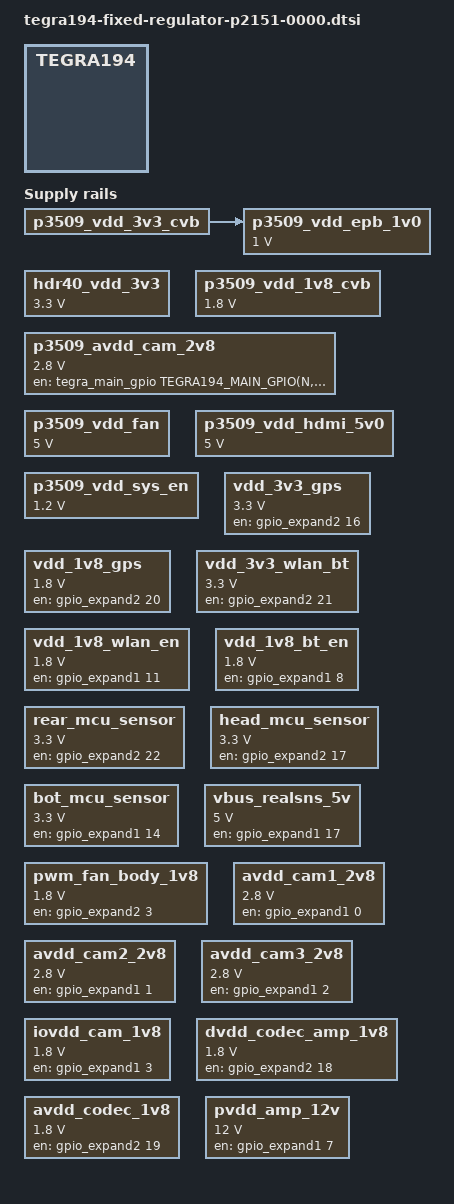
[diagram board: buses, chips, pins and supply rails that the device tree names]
/*
 * Copyright (c) 2019, NVIDIA CORPORATION.  All rights reserved.
 *
 * This program is free software; you can redistribute it and/or modify
 * it under the terms of the GNU General Public License as published by
 * the Free Software Foundation; either version 2 of the License, or
 * (at your option) any later version.
 *
 * This program is distributed in the hope that it will be useful, but WITHOUT
 * ANY WARRANTY; without even the implied warranty of MERCHANTABILITY or
 * FITNESS FOR A PARTICULAR PURPOSE.  See the GNU General Public License for
 * more details.
 */

#include <dt-bindings/gpio/tegra194-gpio.h>

/ {
	fixed-regulators {
		hdr40_vdd_3v3: p3509_vdd_3v3_cvb: regulator@101 {
			compatible = "regulator-fixed";
			reg = <101>;
			regulator-name = "vdd-3v3-cvb";
			regulator-min-microvolt = <3300000>;
			regulator-max-microvolt = <3300000>;
		};

		p3509_vdd_1v8_cvb: regulator@102 {
			compatible = "regulator-fixed";
			reg = <102>;
			regulator-name = "vdd-1v8-cvb";
			regulator-min-microvolt = <1800000>;
			regulator-max-microvolt = <1800000>;
		};

		/* No device using "p3509_vdd_epb_1v0" regulator */
		p3509_vdd_epb_1v0: regulator@105 {
			compatible = "regulator-fixed";
			reg = <105>;
			regulator-name = "vdd-epb-1v0";
			regulator-min-microvolt = <1000000>;
			regulator-max-microvolt = <1000000>;
			vin-supply = <&p3509_vdd_3v3_cvb>;
		};

		/* P3509 board need only VDD_3V3_SYS regulator, this regulator is not needed */
		p3509_avdd_cam_2v8: regulator@107 {
			compatible = "regulator-fixed";
			reg = <107>;
			regulator-name = "avdd-cam-2v8";
			regulator-min-microvolt = <2800000>;
			regulator-max-microvolt = <2800000>;
			gpio = <&tegra_main_gpio TEGRA194_MAIN_GPIO(N, 0) 0>;
			enable-active-high;
		};

		p3509_vdd_fan: regulator@111 {
			compatible = "regulator-fixed";
			reg = <111>;
			regulator-name = "vdd-fan";
			regulator-min-microvolt = <5000000>;
			regulator-max-microvolt = <5000000>;
		};

		/* SOC_PWR_REQ->MOD_SLEEP->VDD_3V3_HDMI->VDD_5V0_HDMI_CN */
		p3509_vdd_hdmi_5v0: regulator@112 {
			compatible = "regulator-fixed";
			reg = <112>;
			regulator-name = "vdd-hdmi-5v0";
			regulator-min-microvolt = <5000000>;
			regulator-max-microvolt = <5000000>;
			enable-active-high;
		};

		/* this regulator used for camera, AVDD_CSI_1V2 is directly
		 * coming from MAX20024, not required gpio */
		p3509_vdd_sys_en: regulator@113 {
			compatible = "regulator-fixed";
			reg = <113>;
			regulator-name = "vdd_sys_en";
			regulator-min-microvolt = <1200000>;
			regulator-max-microvolt = <1200000>;
			enable-active-high;
		};

		// copy from mirp-common.dtsi, begin
		vdd_3v3_gps: reulator@21 {
			compatible = "regulator-fixed";
			reg = <21>;
			regulator-name = "vdd-3v3-gps";
			regulator-min-microvolt = <3300000>;
			regulator-max-microvolt = <3300000>;
			gpio = <&gpio_expand2 16 GPIO_ACTIVE_HIGH>;
			enable-active-high;
		};

		vdd_1v8_gps: reulator@22 {
			compatible = "regulator-fixed";
			reg = <22>;
			regulator-name = "vdd-1v8-gps";
			regulator-min-microvolt = <1800000>;
			regulator-max-microvolt = <1800000>;
			gpio = <&gpio_expand2 20 GPIO_ACTIVE_HIGH>;
			enable-active-high;
		};

		// realtek wifi and bluetooth
		vdd_3v3_wlan_bt: reulator@35 {
			compatible = "regulator-fixed";
			reg = <35>;
			regulator-name = "vdd-3v3-wlan-bt";
			regulator-min-microvolt = <3300000>;
			regulator-max-microvolt = <3300000>;
			gpio = <&gpio_expand2 21 GPIO_ACTIVE_HIGH>;
			startup-delay-us = <20000>;
			regulator-always-on;
			regulator-boot-on;
			enable-active-high;
		};
		
		// bcmdhd_wlan
		vdd_1v8_wlan_en: reulator@36 {
			compatible = "regulator-fixed";
			reg = <36>;
			regulator-name = "vdd-1v8-wlan-en";
			regulator-min-microvolt = <1800000>;
			regulator-max-microvolt = <1800000>;
			gpio = <&gpio_expand1 11  GPIO_ACTIVE_HIGH>;
			startup-delay-us = <20000>;
			// regulator-always-on;
			// regulator-boot-on;
			enable-active-high;
			// status = "disabled";
		};
		
		// bcmdhd_wlan
		vdd_1v8_bt_en: reulator@37 {
			compatible = "regulator-fixed";
			reg = <37>;
			regulator-name = "vdd-1v8-bt-en";
			regulator-min-microvolt = <1800000>;
			regulator-max-microvolt = <1800000>;
			gpio = <&gpio_expand1 8 GPIO_ACTIVE_HIGH>;
			startup-delay-us = <20000>;
			// regulator-always-on;
			// regulator-boot-on;
			enable-active-high;
			// status = "disabled";
		};

		rear_mcu_sensor: reulator@25 {
			compatible = "regulator-fixed";
			reg = <25>;
			regulator-always-on;
			regulator-name = "rear-mcu-sensor";
			regulator-min-microvolt = <3300000>;
			regulator-max-microvolt = <3300000>;
			gpio = <&gpio_expand2 22 GPIO_ACTIVE_HIGH>;
			enable-active-high;
			regulator-boot-on;
		};
		head_mcu_sensor: reulator@26 {
			compatible = "regulator-fixed";
			reg = <26>;
			regulator-always-on;
			regulator-name = "head-mcu-sensor";
			regulator-min-microvolt = <3300000>;
			regulator-max-microvolt = <3300000>;
			gpio = <&gpio_expand2 17 GPIO_ACTIVE_HIGH>;
			enable-active-high;
			regulator-boot-on;
		};

		bot_mcu_sensor: reulator@27 {
			compatible = "regulator-fixed";
			reg = <27>;
			regulator-always-on;
			regulator-name = "bot-mcu-sensor";
			regulator-min-microvolt = <3300000>;
			regulator-max-microvolt = <3300000>;
			gpio = <&gpio_expand1 14 GPIO_ACTIVE_HIGH>;
			enable-active-high;
			regulator-boot-on;
		};

		vbus_realsns_5v: reulator@28 {
			compatible = "regulator-fixed";
			reg = <28>;
			regulator-always-on;
			regulator-name = "vbus-realsns-5v";
			regulator-min-microvolt = <5000000>;
			regulator-max-microvolt = <5000000>;
			gpio = <&gpio_expand1 17 GPIO_ACTIVE_HIGH>;
			enable-active-high;
			regulator-boot-on;
		};

		pwm_fan_body_1v8: regulator@30 {
			compatible = "regulator-fixed";
			reg = <30>;
			regulator-always-on;
			regulator-name = "vdd-fan-body-1v8";
			regulator-min-microvolt = <1800000>;
			regulator-max-microvolt = <1800000>;
			gpio = <&gpio_expand2 3 GPIO_ACTIVE_HIGH>;
			enable-active-high;
			regulator-boot-on;
		};

		avdd_cam1_2v8: regulator@41 {
			compatible = "regulator-fixed";
			reg= <41>;
			regulator-name = "avdd-cam1-2v8";
			regulator-min-microvolt = <2800000>;
			regulator-max-microvolt = <2800000>;
			gpio = <&gpio_expand1 0 GPIO_ACTIVE_HIGH>;
			enable-active-high;
		};

		avdd_cam2_2v8: regulator@42 {
			compatible = "regulator-fixed";
			reg= <42>;
			regulator-name = "avdd-cam2-2v8";
			regulator-min-microvolt = <2800000>;
			regulator-max-microvolt = <2800000>;
			gpio = <&gpio_expand1 1 GPIO_ACTIVE_HIGH>;
			enable-active-high;
		};

		avdd_cam3_2v8: regulator@43 {
			compatible = "regulator-fixed";
			reg= <43>;
			regulator-name = "avdd-cam3-2v8";
			regulator-min-microvolt = <2800000>;
			regulator-max-microvolt = <2800000>;
			gpio = <&gpio_expand1 2 GPIO_ACTIVE_HIGH>;
			enable-active-high;
		};

		iovdd_cam_1v8: regulator@44{
			compatible = "regulator-fixed";
			reg= <44>;
			regulator-name = "iovdd-cam-1v8";
			regulator-min-microvolt = <1800000>;
			regulator-max-microvolt = <1800000>;
			gpio = <&gpio_expand1 3 GPIO_ACTIVE_HIGH>;
			enable-active-high;
		};
		// copy from mirp-common.dtsi, end

		// rt5680 and tas5805 shared
		dvdd_codec_amp_1v8: regulator@50{
			compatible = "regulator-fixed";
			reg= <50>;
			regulator-name = "dvdd-codec-amp-1v8";
			regulator-min-microvolt = <1800000>;
			regulator-max-microvolt = <1800000>;
			gpio = <&gpio_expand2 18 GPIO_ACTIVE_HIGH>;
			enable-active-high;
		};

		avdd_codec_1v8: regulator@51{
			compatible = "regulator-fixed";
			reg= <51>;
			regulator-name = "avdd-codec-1v8";
			regulator-min-microvolt = <1800000>;
			regulator-max-microvolt = <1800000>;
			gpio = <&gpio_expand2 19 GPIO_ACTIVE_HIGH>;
			enable-active-high;
		};

		pvdd_amp_12v: regulator@52{
			compatible = "regulator-fixed";
			reg= <52>;
			regulator-name = "pvdd-amp-12v";
			regulator-min-microvolt = <12000000>;
			regulator-max-microvolt = <12000000>;
			gpio = <&gpio_expand1 7 GPIO_ACTIVE_HIGH>;
			enable-active-high;
		};
	};
};
